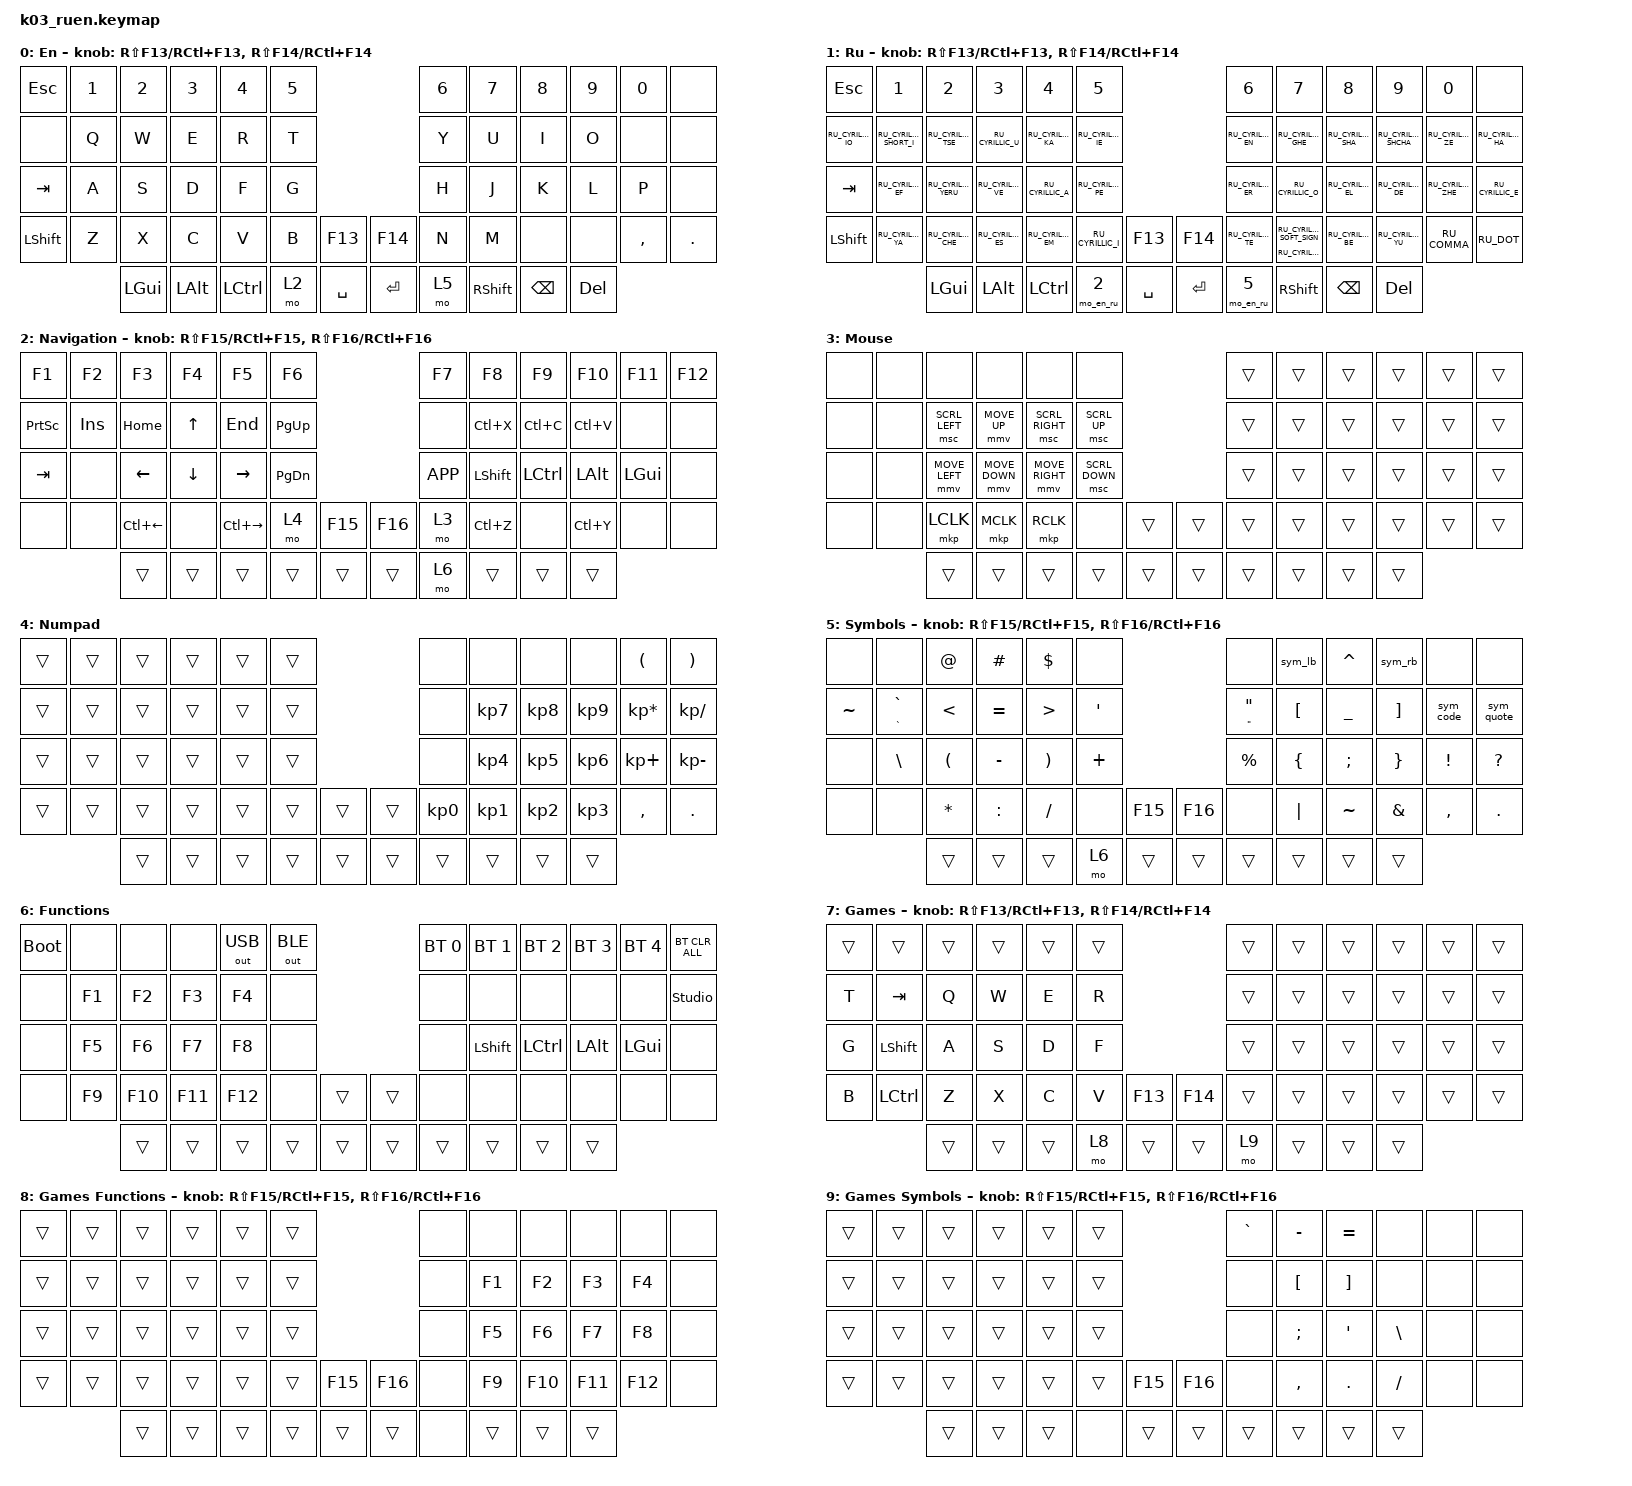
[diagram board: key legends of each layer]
#include "keys_ru.h"
#include <behaviors.dtsi>
#include <dt-bindings/zmk/bt.h>
#include <dt-bindings/zmk/keys.h>
#include <dt-bindings/zmk/outputs.h>
#include <dt-bindings/zmk/pointing.h>

/ {
    combos {
        compatible = "zmk,combos";

        cmb_to_en {
            bindings = <&layer_en>;
            key-positions = <53 52>;
            layers = <1>;
        };

        cmb_to_ru {
            bindings = <&layer_ru>;
            key-positions = <53 52>;
            layers = <0>;
        };

        cmb_caps {
            bindings = <&kp CAPS>;
            key-positions = <36 57>;
            layers = <0 1>;
        };

        cmb_caps_word {
            bindings = <&caps_word>;
            key-positions = <36 52>;
            layers = <0 1>;
        };

        cmb_games_on {
            bindings = <&layer_games_on>;
            key-positions = <56 57>;
            layers = <0 1>;
        };

        cmb_games_off {
            bindings = <&layer_games_off>;
            key-positions = <56 57>;
            layers = <7>;
        };
    };

    macros {
        lang_to_ru: to_ru {
            compatible = "zmk,behavior-macro";
            #binding-cells = <0>;
            bindings = <&kp LS(LC(N2))>;
            label = "LANG_TO_RU";
            wait-ms = <0>;
            tap-ms = <30>;
        };

        lang_to_en: lang_to_en {
            compatible = "zmk,behavior-macro";
            #binding-cells = <0>;
            bindings = <&kp LS(LC(N1))>;
            label = "LANG_TO_EN";
            wait-ms = <0>;
            tap-ms = <30>;
        };

        layer_en: layer_en {
            compatible = "zmk,behavior-macro";
            #binding-cells = <0>;
            bindings = <&to 0 &lang_to_en &kp RS(F24)>;
            label = "LAYER_EN";
            wait-ms = <0>;
            tap-ms = <30>;
        };

        layer_ru: layer_ru {
            compatible = "zmk,behavior-macro";
            #binding-cells = <0>;
            bindings = <&to 1 &lang_to_ru &kp RC(F24)>;
            label = "LAYER_RU";
            tap-ms = <30>;
            wait-ms = <0>;
        };

        mo_en_ru: mo_en_ru {
            compatible = "zmk,behavior-macro-one-param";
            #binding-cells = <1>;
            bindings =
                <&lang_to_en>,
                <&macro_press>,
                <&macro_param_1to1 &mo MACRO_PLACEHOLDER>,
                <&macro_pause_for_release>,
                <&lang_to_ru>,
                <&macro_release>,
                <&macro_param_1to1 &mo MACRO_PLACEHOLDER>;

            label = "MO_EN_RU";
        };

        mac_triple_quotes: mac_triple_quotes {
            compatible = "zmk,behavior-macro-one-param";
            #binding-cells = <1>;
            bindings =
                <&macro_param_1to1 &kp MACRO_PLACEHOLDER &macro_param_1to1 &kp MACRO_PLACEHOLDER &macro_param_1to1 &kp MACRO_PLACEHOLDER>,
                <&macro_wait_time 10>,
                <&kp LS(ENTER) &kp LS(ENTER)>,
                <&macro_wait_time 10>,
                <&macro_param_1to1 &kp MACRO_PLACEHOLDER &macro_param_1to1 &kp MACRO_PLACEHOLDER &macro_param_1to1 &kp MACRO_PLACEHOLDER>,
                <&macro_wait_time 10>,
                <&kp UP>;

            label = "MAC_TRIPLE_QUOTES";
        };

        layer_games_on: layer_games_on {
            compatible = "zmk,behavior-macro";
            #binding-cells = <0>;
            bindings = <&lang_to_en &tog 7 &kp RS(F23)>;
            label = "LAYER_GAMES_ON";
        };

        sym_lb: sym_lb {
            compatible = "zmk,behavior-macro";
            #binding-cells = <0>;
            bindings =
                <&macro_press>,
                <&kp LEFT_ALT>,
                <&macro_tap>,
                <&kp KP_N0 &kp KP_N1 &kp KP_N7 &kp KP_N1>,
                <&macro_release>,
                <&kp LEFT_ALT>;

            label = "SYM_LB";
        };

        sym_rb: sym_rb {
            compatible = "zmk,behavior-macro";
            #binding-cells = <0>;
            bindings =
                <&macro_press>,
                <&kp LEFT_ALT>,
                <&macro_tap>,
                <&kp KP_N0 &kp KP_N1 &kp KP_N8 &kp KP_N7>,
                <&macro_release>,
                <&kp LEFT_ALT>;

            label = "SYM_RB";
        };

        sym_code: sym_code {
            compatible = "zmk,behavior-macro";
            #binding-cells = <0>;
            bindings =
                <&kp LEFT_BRACE &kp C &kp O &kp D &kp E &kp RIGHT_BRACE>,
                <&macro_wait_time 10>,
                <&kp LS(ENTER) &kp LS(ENTER)>,
                <&macro_wait_time 10>,
                <&kp LEFT_BRACE &kp C &kp O &kp D &kp E &kp RIGHT_BRACE>,
                <&macro_wait_time 10>,
                <&kp UP>;

            label = "SYM_CODE";
        };

        sym_quote: sym_quote {
            compatible = "zmk,behavior-macro";
            #binding-cells = <0>;
            bindings =
                <&kp LEFT_BRACE &kp Q &kp U &kp O &kp T &kp E &kp RIGHT_BRACE>,
                <&macro_wait_time 10>,
                <&kp LS(ENTER) &kp LS(ENTER)>,
                <&macro_wait_time 10>,
                <&kp LEFT_BRACE &kp Q &kp U &kp O &kp T &kp E &kp RIGHT_BRACE>,
                <&macro_wait_time 10>,
                <&kp UP>;

            label = "SYM_QUOTE";
        };

        layer_games_off: layer_games_off {
            compatible = "zmk,behavior-macro";
            #binding-cells = <0>;
            bindings = <&tog 7 &kp RC(F23)>;
            label = "LAYER_GAMES_OFF";
        };
    };

    behaviors {
        beh_triple_quotes: beh_triple_quotes {
            compatible = "zmk,behavior-hold-tap";
            label = "BEH_TRIPLE_QUOTES";
            #binding-cells = <2>;
            tapping-term-ms = <250>;
            flavor = "balanced";
            bindings = <&mac_triple_quotes>, <&kp>;
        };
    };

    keymap {
        compatible = "zmk,keymap";

        en {
            bindings = <
&kp ESC    &kp N1  &kp N2    &kp N3    &kp N4     &kp N5                          &kp N6  &kp N7           &kp N8         &kp N9      &kp N0     &none
&none      &kp Q   &kp W     &kp E     &kp R      &kp T                           &kp Y   &kp U            &kp I          &kp O       &none      &none
&kp TAB    &kp A   &kp S     &kp D     &kp F      &kp G                           &kp H   &kp J            &kp K          &kp L       &kp P      &none
&kp LSHFT  &kp Z   &kp X     &kp C     &kp V      &kp B   &kp F13      &kp F14    &kp N   &kp M            &none          &none       &kp COMMA  &kp DOT
                   &kp LGUI  &kp LALT  &kp LCTRL  &mo 2   &kp SPACE    &kp ENTER  &mo 5   &kp RIGHT_SHIFT  &kp BACKSPACE  &kp DELETE
            >;

            display-name = "En";
            sensor-bindings =
                <&inc_dec_kp RS(F13) RC(F13)>,
                <&inc_dec_kp RS(F14) RC(F14)>;
        };

        ru {
            display-name = "Ru";
            bindings = <
&kp ESC             &kp N1                   &kp N2                &kp N3              &kp N4              &kp N5                                      &kp N6              &kp N7                                           &kp N8               &kp N9                 &kp N0               &none
&kp RU_CYRILLIC_IO  &kp RU_CYRILLIC_SHORT_I  &kp RU_CYRILLIC_TSE   &kp RU_CYRILLIC_U   &kp RU_CYRILLIC_KA  &kp RU_CYRILLIC_IE                          &kp RU_CYRILLIC_EN  &kp RU_CYRILLIC_GHE                              &kp RU_CYRILLIC_SHA  &kp RU_CYRILLIC_SHCHA  &kp RU_CYRILLIC_ZE   &kp RU_CYRILLIC_HA
&kp TAB             &kp RU_CYRILLIC_EF       &kp RU_CYRILLIC_YERU  &kp RU_CYRILLIC_VE  &kp RU_CYRILLIC_A   &kp RU_CYRILLIC_PE                          &kp RU_CYRILLIC_ER  &kp RU_CYRILLIC_O                                &kp RU_CYRILLIC_EL   &kp RU_CYRILLIC_DE     &kp RU_CYRILLIC_ZHE  &kp RU_CYRILLIC_E
&kp LSHFT           &kp RU_CYRILLIC_YA       &kp RU_CYRILLIC_CHE   &kp RU_CYRILLIC_ES  &kp RU_CYRILLIC_EM  &kp RU_CYRILLIC_I   &kp F13      &kp F14    &kp RU_CYRILLIC_TE  &mt RU_CYRILLIC_HARD_SIGN RU_CYRILLIC_SOFT_SIGN  &kp RU_CYRILLIC_BE   &kp RU_CYRILLIC_YU     &kp RU_COMMA         &kp RU_DOT
                                             &kp LGUI              &kp LALT            &kp LCTRL           &mo_en_ru 2         &kp SPACE    &kp ENTER  &mo_en_ru 5         &kp RIGHT_SHIFT                                  &kp BACKSPACE        &kp DELETE
            >;

            sensor-bindings =
                <&inc_dec_kp RS(F13) RC(F13)>,
                <&inc_dec_kp RS(F14) RC(F14)>;
        };

        nav {
            bindings = <
&kp F1           &kp F2      &kp F3        &kp F4    &kp F5         &kp F6                             &kp F7     &kp F8          &kp F9     &kp F10       &kp F11       &kp F12
&kp PRINTSCREEN  &kp INSERT  &kp HOME      &kp UP    &kp END        &kp PG_UP                          &none      &kp LC(X)       &kp LC(C)  &kp LC(V)     &none         &none
&kp TAB          &none       &kp LEFT      &kp DOWN  &kp RIGHT      &kp PAGE_DOWN                      &kp K_APP  &kp LEFT_SHIFT  &kp LCTRL  &kp LEFT_ALT  &kp LEFT_GUI  &none
&none            &none       &kp LC(LEFT)  &none     &kp LC(RIGHT)  &mo 4          &kp F15    &kp F16  &mo 3      &kp LC(Z)       &none      &kp LC(Y)     &none         &none
                             &trans        &trans    &trans         &trans         &trans     &trans   &mo 6      &trans          &trans     &trans
            >;

            display-name = "Navigation";
            sensor-bindings =
                <&inc_dec_kp RS(F15) RC(F15)>,
                <&inc_dec_kp RS(F16) RC(F16)>;
        };

        mouse {
            bindings = <
&none  &none  &none           &none           &none            &none                             &trans  &trans  &trans  &trans  &trans  &trans
&none  &none  &msc SCRL_LEFT  &mmv MOVE_UP    &msc SCRL_RIGHT  &msc SCRL_UP                      &trans  &trans  &trans  &trans  &trans  &trans
&none  &none  &mmv MOVE_LEFT  &mmv MOVE_DOWN  &mmv MOVE_RIGHT  &msc SCRL_DOWN                    &trans  &trans  &trans  &trans  &trans  &trans
&none  &none  &mkp LCLK       &mkp MCLK       &mkp RCLK        &none           &trans    &trans  &trans  &trans  &trans  &trans  &trans  &trans
              &trans          &trans          &trans           &trans          &trans    &trans  &trans  &trans  &trans  &trans
            >;

            label = "Mouse";
        };

        num {
            bindings = <
&trans  &trans  &trans  &trans  &trans  &trans                    &none      &none      &none      &none      &kp LPAR         &kp RPAR
&trans  &trans  &trans  &trans  &trans  &trans                    &none      &kp KP_N7  &kp KP_N8  &kp KP_N9  &kp KP_MULTIPLY  &kp KP_DIVIDE
&trans  &trans  &trans  &trans  &trans  &trans                    &none      &kp KP_N4  &kp KP_N5  &kp KP_N6  &kp KP_PLUS      &kp KP_MINUS
&trans  &trans  &trans  &trans  &trans  &trans  &trans    &trans  &kp KP_N0  &kp KP_N1  &kp KP_N2  &kp KP_N3  &kp COMMA        &kp DOT
                &trans  &trans  &trans  &trans  &trans    &trans  &trans     &trans     &trans     &trans
            >;

            label = "Numpad";
        };

        sym {
            display-name = "Symbols";
            bindings = <
&none      &none                           &kp AT    &kp HASH   &kp DLLR  &none                         &none                       &sym_lb   &kp CARET  &sym_rb   &none      &none
&kp TILDE  &beh_triple_quotes GRAVE GRAVE  &kp LT    &kp EQUAL  &kp GT    &kp SQT                       &beh_triple_quotes DQT DQT  &kp LBKT  &kp UNDER  &kp RBKT  &sym_code  &sym_quote
&none      &kp BSLH                        &kp LPAR  &kp MINUS  &kp RPAR  &kp PLUS                      &kp PRCNT                   &kp LBRC  &kp SEMI   &kp RBRC  &kp EXCL   &kp QUESTION
&none      &none                           &kp STAR  &kp COLON  &kp FSLH  &none     &kp F15    &kp F16  &none                       &kp PIPE  &kp TILDE  &kp AMPS  &kp COMMA  &kp DOT
                                           &trans    &trans     &trans    &mo 6     &trans     &trans   &trans                      &trans    &trans     &trans
            >;

            sensor-bindings =
                <&inc_dec_kp RS(F15) RC(F15)>,
                <&inc_dec_kp RS(F16) RC(F16)>;
        };

        fun {
            bindings = <
&bootloader  &none   &none    &none    &out OUT_USB  &out OUT_BLE                    &bt BT_SEL 0  &bt BT_SEL 1    &bt BT_SEL 2  &bt BT_SEL 3  &bt BT_SEL 4  &bt BT_CLR_ALL
&none        &kp F1  &kp F2   &kp F3   &kp F4        &none                           &none         &none           &none         &none         &none         &studio_unlock
&none        &kp F5  &kp F6   &kp F7   &kp F8        &none                           &none         &kp LEFT_SHIFT  &kp LCTRL     &kp LEFT_ALT  &kp LEFT_GUI  &none
&none        &kp F9  &kp F10  &kp F11  &kp F12       &none         &trans    &trans  &none         &none           &none         &none         &none         &none
                     &trans   &trans   &trans        &trans        &trans    &trans  &trans        &trans          &trans        &trans
            >;

            display-name = "Functions";
        };

        gam {
            label = "Games";
            bindings = <
&trans  &trans          &trans  &trans  &trans  &trans                      &trans  &trans  &trans  &trans  &trans  &trans
&kp T   &kp TAB         &kp Q   &kp W   &kp E   &kp R                       &trans  &trans  &trans  &trans  &trans  &trans
&kp G   &kp LEFT_SHIFT  &kp A   &kp S   &kp D   &kp F                       &trans  &trans  &trans  &trans  &trans  &trans
&kp B   &kp LCTRL       &kp Z   &kp X   &kp C   &kp V   &kp F13    &kp F14  &trans  &trans  &trans  &trans  &trans  &trans
                        &trans  &trans  &trans  &mo 8   &trans     &trans   &mo 9   &trans  &trans  &trans
            >;

            sensor-bindings =
                <&inc_dec_kp RS(F13) RC(F13)>,
                <&inc_dec_kp RS(F14) RC(F14)>;
        };

        gam_fun {
            bindings = <
&trans  &trans  &trans  &trans  &trans  &trans                      &none  &none   &none    &none    &none    &none
&trans  &trans  &trans  &trans  &trans  &trans                      &none  &kp F1  &kp F2   &kp F3   &kp F4   &none
&trans  &trans  &trans  &trans  &trans  &trans                      &none  &kp F5  &kp F6   &kp F7   &kp F8   &none
&trans  &trans  &trans  &trans  &trans  &trans  &kp F15    &kp F16  &none  &kp F9  &kp F10  &kp F11  &kp F12  &none
                &trans  &trans  &trans  &trans  &trans     &trans   &none  &trans  &trans   &trans
            >;

            label = "Games Functions";
            sensor-bindings =
                <&inc_dec_kp RS(F15) RC(F15)>,
                <&inc_dec_kp RS(F16) RC(F16)>;
        };

        gam_sym {
            bindings = <
&trans  &trans  &trans  &trans  &trans  &trans                      &kp GRAVE  &kp MINUS  &kp EQUAL  &none     &none  &none
&trans  &trans  &trans  &trans  &trans  &trans                      &none      &kp LBKT   &kp RBKT   &none     &none  &none
&trans  &trans  &trans  &trans  &trans  &trans                      &none      &kp SEMI   &kp APOS   &kp BSLH  &none  &none
&trans  &trans  &trans  &trans  &trans  &trans  &kp F15    &kp F16  &none      &kp COMMA  &kp DOT    &kp FSLH  &none  &none
                &trans  &trans  &trans  &none   &trans     &trans   &trans     &trans     &trans     &trans
            >;

            label = "Games Symbols";
            sensor-bindings =
                <&inc_dec_kp RS(F15) RC(F15)>,
                <&inc_dec_kp RS(F16) RC(F16)>;
        };
    };

    conditional_layers { compatible = "zmk,conditional-layers"; };
};
